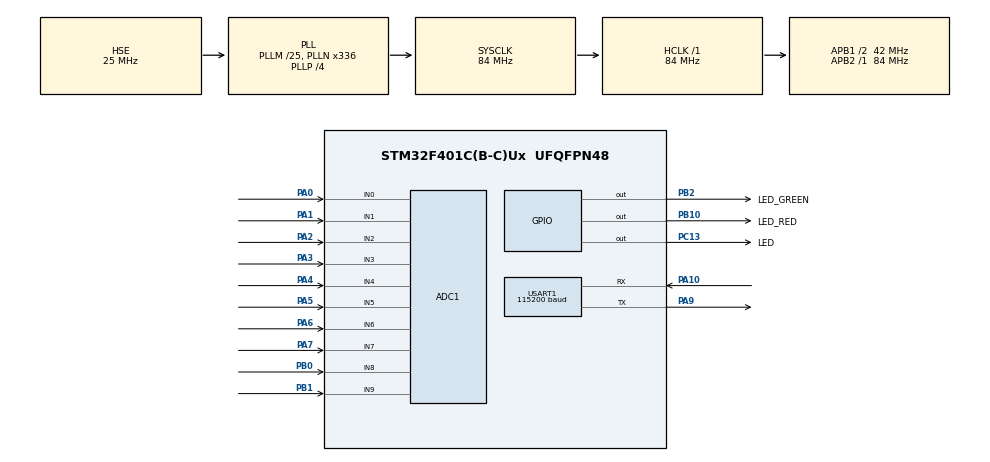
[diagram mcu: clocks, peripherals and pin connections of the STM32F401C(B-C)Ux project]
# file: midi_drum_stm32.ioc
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ADC1.Channel-0\#ChannelRegularConversion=ADC_CHANNEL_0
ADC1.Channel-1\#ChannelRegularConversion=ADC_CHANNEL_1
ADC1.Channel-2\#ChannelRegularConversion=ADC_CHANNEL_2
ADC1.Channel-3\#ChannelRegularConversion=ADC_CHANNEL_3
ADC1.Channel-4\#ChannelRegularConversion=ADC_CHANNEL_4
ADC1.Channel-5\#ChannelRegularConversion=ADC_CHANNEL_5
ADC1.Channel-6\#ChannelRegularConversion=ADC_CHANNEL_6
ADC1.Channel-7\#ChannelRegularConversion=ADC_CHANNEL_7
ADC1.Channel-8\#ChannelRegularConversion=ADC_CHANNEL_8
ADC1.Channel-9\#ChannelRegularConversion=ADC_CHANNEL_9
ADC1.ClockPrescaler=ADC_CLOCK_SYNC_PCLK_DIV4
ADC1.ContinuousConvMode=DISABLE
ADC1.DMAContinuousRequests=ENABLE
ADC1.ExternalTrigConv=ADC_EXTERNALTRIGCONV_T2_TRGO
ADC1.NbrOfConversion=10
ADC1.NbrOfConversionFlag=1
ADC1.Rank-0\#ChannelRegularConversion=1
ADC1.Rank-1\#ChannelRegularConversion=2
ADC1.Rank-2\#ChannelRegularConversion=3
ADC1.Rank-3\#ChannelRegularConversion=4
ADC1.Rank-4\#ChannelRegularConversion=5
ADC1.Rank-5\#ChannelRegularConversion=6
ADC1.Rank-6\#ChannelRegularConversion=7
ADC1.Rank-7\#ChannelRegularConversion=8
ADC1.Rank-8\#ChannelRegularConversion=9
ADC1.Rank-9\#ChannelRegularConversion=10
ADC1.SamplingTime-0\#ChannelRegularConversion=ADC_SAMPLETIME_3CYCLES
ADC1.SamplingTime-1\#ChannelRegularConversion=ADC_SAMPLETIME_3CYCLES
ADC1.SamplingTime-2\#ChannelRegularConversion=ADC_SAMPLETIME_3CYCLES
ADC1.SamplingTime-3\#ChannelRegularConversion=ADC_SAMPLETIME_3CYCLES
ADC1.SamplingTime-4\#ChannelRegularConversion=ADC_SAMPLETIME_3CYCLES
ADC1.SamplingTime-5\#ChannelRegularConversion=ADC_SAMPLETIME_3CYCLES
ADC1.SamplingTime-6\#ChannelRegularConversion=ADC_SAMPLETIME_3CYCLES
ADC1.SamplingTime-7\#ChannelRegularConversion=ADC_SAMPLETIME_3CYCLES
ADC1.SamplingTime-8\#ChannelRegularConversion=ADC_SAMPLETIME_3CYCLES
ADC1.SamplingTime-9\#ChannelRegularConversion=ADC_SAMPLETIME_3CYCLES
ADC1.master=1
Dma.ADC1.0.Direction=DMA_PERIPH_TO_MEMORY
Dma.ADC1.0.FIFOMode=DMA_FIFOMODE_DISABLE
Dma.ADC1.0.Instance=DMA2_Stream0
Dma.ADC1.0.MemDataAlignment=DMA_MDATAALIGN_HALFWORD
Dma.ADC1.0.MemInc=DMA_MINC_ENABLE
Dma.ADC1.0.Mode=DMA_CIRCULAR
Dma.ADC1.0.PeriphDataAlignment=DMA_PDATAALIGN_HALFWORD
Dma.ADC1.0.PeriphInc=DMA_PINC_DISABLE
Dma.ADC1.0.Priority=DMA_PRIORITY_HIGH
Dma.Request0=ADC1
Dma.Request1=USART1_TX
Dma.USART1_TX.1.Direction=DMA_MEMORY_TO_PERIPH
Dma.USART1_TX.1.FIFOMode=DMA_FIFOMODE_DISABLE
Dma.USART1_TX.1.Instance=DMA2_Stream7
Dma.USART1_TX.1.MemDataAlignment=DMA_MDATAALIGN_BYTE
Dma.USART1_TX.1.MemInc=DMA_MINC_ENABLE
Dma.USART1_TX.1.Mode=DMA_NORMAL
Dma.USART1_TX.1.PeriphDataAlignment=DMA_PDATAALIGN_BYTE
Dma.USART1_TX.1.PeriphInc=DMA_PINC_DISABLE
Dma.USART1_TX.1.Priority=DMA_PRIORITY_LOW
Mcu.Family=STM32F4
Mcu.Name=STM32F401C(B-C)Ux
Mcu.Package=UFQFPN48
NVIC.DMA2_Stream0_IRQn=true\:0\:0\:false\:false\:true\:false\:true\:true
NVIC.DMA2_Stream7_IRQn=true\:0\:0\:false\:false\:true\:false\:true\:true
NVIC.PriorityGroup=NVIC_PRIORITYGROUP_4
NVIC.TIM2_IRQn=true\:0\:0\:false\:false\:true\:true\:true\:true
NVIC.USART1_IRQn=true\:0\:0\:false\:false\:true\:true\:true\:true
PA0-WKUP.Signal=ADCx_IN0
PA1.Signal=ADCx_IN1
PA10.Mode=Asynchronous
PA10.Signal=USART1_RX
PA13.Mode=Serial_Wire
PA13.Signal=SYS_JTMS-SWDIO
PA14.Mode=Serial_Wire
PA14.Signal=SYS_JTCK-SWCLK
PA2.Signal=ADCx_IN2
PA3.Signal=ADCx_IN3
PA4.Signal=ADCx_IN4
PA5.Signal=ADCx_IN5
PA6.Signal=ADCx_IN6
PA7.Signal=ADCx_IN7
PA9.Mode=Asynchronous
PA9.Signal=USART1_TX
PB0.Signal=ADCx_IN8
PB1.Signal=ADCx_IN9
PB10.GPIO_Label=LED_RED
PB10.GPIO_Speed=GPIO_SPEED_FREQ_HIGH
PB10.Signal=GPIO_Output
PB2.GPIO_Label=LED_GREEN
PB2.GPIO_Speed=GPIO_SPEED_FREQ_HIGH
PB2.Signal=GPIO_Output
PC13-ANTI_TAMP.GPIO_Label=LED
PC13-ANTI_TAMP.Signal=GPIO_Output
PH0\ -\ OSC_IN.Mode=HSE-External-Oscillator
PH0\ -\ OSC_IN.Signal=RCC_OSC_IN
PH1\ -\ OSC_OUT.Mode=HSE-External-Oscillator
PH1\ -\ OSC_OUT.Signal=RCC_OSC_OUT
ProjectManager.HeapSize=0x200
ProjectManager.StackSize=0x400
ProjectManager.TargetToolchain=STM32CubeIDE
RCC.48MHZClocksFreq_Value=48000000
RCC.AHBFreq_Value=84000000
RCC.APB1CLKDivider=RCC_HCLK_DIV2
RCC.APB1Freq_Value=42000000
RCC.APB1TimFreq_Value=84000000
RCC.APB2Freq_Value=84000000
RCC.APB2TimFreq_Value=84000000
RCC.CortexFreq_Value=84000000
RCC.HCLKFreq_Value=84000000
RCC.HSE_VALUE=25000000
RCC.HSI_VALUE=16000000
RCC.LSE_VALUE=32768
RCC.PLLM=25
RCC.PLLN=336
RCC.PLLP=RCC_PLLP_DIV4
RCC.PLLQ=7
RCC.PLLSourceVirtual=RCC_PLLSOURCE_HSE
RCC.SYSCLKFreq_VALUE=84000000
RCC.SYSCLKSource=RCC_SYSCLKSOURCE_PLLCLK
RCC.VCOOutputFreq_Value=336000000
SH.ADCx_IN0.0=ADC1_IN0,IN0
SH.ADCx_IN1.0=ADC1_IN1,IN1
SH.ADCx_IN2.0=ADC1_IN2,IN2
SH.ADCx_IN3.0=ADC1_IN3,IN3
SH.ADCx_IN4.0=ADC1_IN4,IN4
SH.ADCx_IN5.0=ADC1_IN5,IN5
SH.ADCx_IN6.0=ADC1_IN6,IN6
SH.ADCx_IN7.0=ADC1_IN7,IN7
SH.ADCx_IN8.0=ADC1_IN8,IN8
SH.ADCx_IN9.0=ADC1_IN9,IN9
TIM2.AutoReloadPreload=TIM_AUTORELOAD_PRELOAD_ENABLE
TIM2.Period=99
TIM2.Prescaler=83
TIM2.TIM_MasterOutputTrigger=TIM_TRGO_UPDATE
USART1.BaudRate=115200
USART1.VirtualMode=VM_ASYNC
VP_TIM2_VS_ClockSourceINT.Mode=Internal
board=custom

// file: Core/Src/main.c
/* USER CODE BEGIN Header */
/**
  ******************************************************************************
  * @file           : main.c
  * @brief          : Main program body
  ******************************************************************************
  * @attention
  *
  * Copyright (c) 2026 STMicroelectronics.
  * All rights reserved.
  *
  * This software is licensed under terms that can be found in the LICENSE file
  * in the root directory of this software component.
  * If no LICENSE file comes with this software, it is provided AS-IS.
  *
  ******************************************************************************
  */
/* USER CODE END Header */
#include "main.h"

/* USER CODE BEGIN Includes */
#include <my_main.h>

/* USER CODE END Includes */

ADC_HandleTypeDef hadc1;
DMA_HandleTypeDef hdma_adc1;

TIM_HandleTypeDef htim2;

UART_HandleTypeDef huart1;
DMA_HandleTypeDef hdma_usart1_tx;

void SystemClock_Config(void);
static void MX_GPIO_Init(void);
static void MX_DMA_Init(void);
static void MX_USART1_UART_Init(void);
static void MX_ADC1_Init(void);
static void MX_TIM2_Init(void);
/* USER CODE BEGIN PFP */

static void UART_SendString(uint8_t* buffer, uint16_t buf_lenght);
static void ADC_Start_DMA(uint32_t* buffer, uint16_t buf_lenght);
static void LED_Write(LEDS led, uint8_t state);

/* USER CODE END PFP */

int main(void)
{

  /* USER CODE BEGIN 1 */
		//char tmp_buf[15];
		//uint16_t raw_data;

  /* USER CODE END 1 */

  /* MCU Configuration--------------------------------------------------------*/

  /* Reset of all peripherals, Initializes the Flash interface and the Systick. */
  HAL_Init();

  /* Configure the system clock */
  SystemClock_Config();

  /* Initialize all configured peripherals */
  MX_GPIO_Init();
  MX_DMA_Init();
  MX_USART1_UART_Init();
  MX_ADC1_Init();
  MX_TIM2_Init();
  /* USER CODE BEGIN 2 */

  MainFunctions Main_Functions =
  {
		  .UART_SendString = UART_SendString,
		  .ADC_Start_DMA = ADC_Start_DMA,
		  .LED_Write = LED_Write
  };

  my_main_init(&Main_Functions);

  HAL_TIM_Base_Start(&htim2);
  HAL_GPIO_WritePin(LED_GPIO_Port, LED_Pin, 1);	// off builtin led

  /* USER CODE END 2 */

  /* Infinite loop */
  /* USER CODE BEGIN WHILE */
  while (1)
  {
	  my_main_loop();

    /* USER CODE END WHILE */

  }
}

void SystemClock_Config(void)
{
  RCC_OscInitTypeDef RCC_OscInitStruct = {0};
  RCC_ClkInitTypeDef RCC_ClkInitStruct = {0};

  /** Configure the main internal regulator output voltage
  */
  __HAL_RCC_PWR_CLK_ENABLE();
  __HAL_PWR_VOLTAGESCALING_CONFIG(PWR_REGULATOR_VOLTAGE_SCALE2);

  /** Initializes the RCC Oscillators according to the specified parameters
  * in the RCC_OscInitTypeDef structure.
  */
  RCC_OscInitStruct.OscillatorType = RCC_OSCILLATORTYPE_HSE;
  RCC_OscInitStruct.HSEState = RCC_HSE_ON;
  RCC_OscInitStruct.PLL.PLLState = RCC_PLL_ON;
  RCC_OscInitStruct.PLL.PLLSource = RCC_PLLSOURCE_HSE;
  RCC_OscInitStruct.PLL.PLLM = 25;
  RCC_OscInitStruct.PLL.PLLN = 336;
  RCC_OscInitStruct.PLL.PLLP = RCC_PLLP_DIV4;
  RCC_OscInitStruct.PLL.PLLQ = 7;
  if (HAL_RCC_OscConfig(&RCC_OscInitStruct) != HAL_OK)
  {
    Error_Handler();
  }

  /** Initializes the CPU, AHB and APB buses clocks
  */
  RCC_ClkInitStruct.ClockType = RCC_CLOCKTYPE_HCLK|RCC_CLOCKTYPE_SYSCLK
                              |RCC_CLOCKTYPE_PCLK1|RCC_CLOCKTYPE_PCLK2;
  RCC_ClkInitStruct.SYSCLKSource = RCC_SYSCLKSOURCE_PLLCLK;
  RCC_ClkInitStruct.AHBCLKDivider = RCC_SYSCLK_DIV1;
  RCC_ClkInitStruct.APB1CLKDivider = RCC_HCLK_DIV2;
  RCC_ClkInitStruct.APB2CLKDivider = RCC_HCLK_DIV1;

  if (HAL_RCC_ClockConfig(&RCC_ClkInitStruct, FLASH_LATENCY_2) != HAL_OK)
  {
    Error_Handler();
  }
}

static void MX_ADC1_Init(void)
{

  ADC_ChannelConfTypeDef sConfig = {0};

  /** Configure the global features of the ADC (Clock, Resolution, Data Alignment and number of conversion)
  */
  hadc1.Instance = ADC1;
  hadc1.Init.ClockPrescaler = ADC_CLOCK_SYNC_PCLK_DIV4;
  hadc1.Init.Resolution = ADC_RESOLUTION_12B;
  hadc1.Init.ScanConvMode = ENABLE;
  hadc1.Init.ContinuousConvMode = DISABLE;
  hadc1.Init.DiscontinuousConvMode = DISABLE;
  hadc1.Init.ExternalTrigConvEdge = ADC_EXTERNALTRIGCONVEDGE_RISING;
  hadc1.Init.ExternalTrigConv = ADC_EXTERNALTRIGCONV_T2_TRGO;
  hadc1.Init.DataAlign = ADC_DATAALIGN_RIGHT;
  hadc1.Init.NbrOfConversion = 10;
  hadc1.Init.DMAContinuousRequests = ENABLE;
  hadc1.Init.EOCSelection = ADC_EOC_SINGLE_CONV;
  if (HAL_ADC_Init(&hadc1) != HAL_OK)
  {
    Error_Handler();
  }

  /** Configure for the selected ADC regular channel its corresponding rank in the sequencer and its sample time.
  */
  sConfig.Channel = ADC_CHANNEL_0;
  sConfig.Rank = 1;
  sConfig.SamplingTime = ADC_SAMPLETIME_3CYCLES;
  if (HAL_ADC_ConfigChannel(&hadc1, &sConfig) != HAL_OK)
  {
    Error_Handler();
  }

  /** Configure for the selected ADC regular channel its corresponding rank in the sequencer and its sample time.
  */
  sConfig.Channel = ADC_CHANNEL_1;
  sConfig.Rank = 2;
  if (HAL_ADC_ConfigChannel(&hadc1, &sConfig) != HAL_OK)
  {
    Error_Handler();
  }

  /** Configure for the selected ADC regular channel its corresponding rank in the sequencer and its sample time.
  */
  sConfig.Channel = ADC_CHANNEL_2;
  sConfig.Rank = 3;
  if (HAL_ADC_ConfigChannel(&hadc1, &sConfig) != HAL_OK)
  {
    Error_Handler();
  }

  /** Configure for the selected ADC regular channel its corresponding rank in the sequencer and its sample time.
  */
  sConfig.Channel = ADC_CHANNEL_3;
  sConfig.Rank = 4;
  if (HAL_ADC_ConfigChannel(&hadc1, &sConfig) != HAL_OK)
  {
    Error_Handler();
  }

  /** Configure for the selected ADC regular channel its corresponding rank in the sequencer and its sample time.
  */
  sConfig.Channel = ADC_CHANNEL_4;
  sConfig.Rank = 5;
  if (HAL_ADC_ConfigChannel(&hadc1, &sConfig) != HAL_OK)
  {
    Error_Handler();
  }

  /** Configure for the selected ADC regular channel its corresponding rank in the sequencer and its sample time.
  */
  sConfig.Channel = ADC_CHANNEL_5;
  sConfig.Rank = 6;
  if (HAL_ADC_ConfigChannel(&hadc1, &sConfig) != HAL_OK)
  {
    Error_Handler();
  }

  /** Configure for the selected ADC regular channel its corresponding rank in the sequencer and its sample time.
  */
  sConfig.Channel = ADC_CHANNEL_6;
  sConfig.Rank = 7;
  if (HAL_ADC_ConfigChannel(&hadc1, &sConfig) != HAL_OK)
  {
    Error_Handler();
  }

  /** Configure for the selected ADC regular channel its corresponding rank in the sequencer and its sample time.
  */
  sConfig.Channel = ADC_CHANNEL_7;
  sConfig.Rank = 8;
  if (HAL_ADC_ConfigChannel(&hadc1, &sConfig) != HAL_OK)
  {
    Error_Handler();
  }

  /** Configure for the selected ADC regular channel its corresponding rank in the sequencer and its sample time.
  */
  sConfig.Channel = ADC_CHANNEL_8;
  sConfig.Rank = 9;
  if (HAL_ADC_ConfigChannel(&hadc1, &sConfig) != HAL_OK)
  {
    Error_Handler();
  }

  /** Configure for the selected ADC regular channel its corresponding rank in the sequencer and its sample time.
  */
  sConfig.Channel = ADC_CHANNEL_9;
  sConfig.Rank = 10;
  if (HAL_ADC_ConfigChannel(&hadc1, &sConfig) != HAL_OK)
  {
    Error_Handler();
  }

}

static void MX_TIM2_Init(void)
{

  TIM_ClockConfigTypeDef sClockSourceConfig = {0};
  TIM_MasterConfigTypeDef sMasterConfig = {0};

  htim2.Instance = TIM2;
  htim2.Init.Prescaler = 83;
  htim2.Init.CounterMode = TIM_COUNTERMODE_UP;
  htim2.Init.Period = 99;
  htim2.Init.ClockDivision = TIM_CLOCKDIVISION_DIV1;
  htim2.Init.AutoReloadPreload = TIM_AUTORELOAD_PRELOAD_ENABLE;
  if (HAL_TIM_Base_Init(&htim2) != HAL_OK)
  {
    Error_Handler();
  }
  sClockSourceConfig.ClockSource = TIM_CLOCKSOURCE_INTERNAL;
  if (HAL_TIM_ConfigClockSource(&htim2, &sClockSourceConfig) != HAL_OK)
  {
    Error_Handler();
  }
  sMasterConfig.MasterOutputTrigger = TIM_TRGO_UPDATE;
  sMasterConfig.MasterSlaveMode = TIM_MASTERSLAVEMODE_DISABLE;
  if (HAL_TIMEx_MasterConfigSynchronization(&htim2, &sMasterConfig) != HAL_OK)
  {
    Error_Handler();
  }

}

static void MX_USART1_UART_Init(void)
{

  huart1.Instance = USART1;
  huart1.Init.BaudRate = 115200;
  huart1.Init.WordLength = UART_WORDLENGTH_8B;
  huart1.Init.StopBits = UART_STOPBITS_1;
  huart1.Init.Parity = UART_PARITY_NONE;
  huart1.Init.Mode = UART_MODE_TX_RX;
  huart1.Init.HwFlowCtl = UART_HWCONTROL_NONE;
  huart1.Init.OverSampling = UART_OVERSAMPLING_16;
  if (HAL_UART_Init(&huart1) != HAL_OK)
  {
    Error_Handler();
  }

}

static void MX_DMA_Init(void)
{

  /* DMA controller clock enable */
  __HAL_RCC_DMA2_CLK_ENABLE();

  /* DMA interrupt init */
  /* DMA2_Stream0_IRQn interrupt configuration */
  HAL_NVIC_SetPriority(DMA2_Stream0_IRQn, 0, 0);
  HAL_NVIC_EnableIRQ(DMA2_Stream0_IRQn);
  /* DMA2_Stream7_IRQn interrupt configuration */
  HAL_NVIC_SetPriority(DMA2_Stream7_IRQn, 0, 0);
  HAL_NVIC_EnableIRQ(DMA2_Stream7_IRQn);

}

static void MX_GPIO_Init(void)
{
  GPIO_InitTypeDef GPIO_InitStruct = {0};

  /* GPIO Ports Clock Enable */
  __HAL_RCC_GPIOC_CLK_ENABLE();
  __HAL_RCC_GPIOH_CLK_ENABLE();
  __HAL_RCC_GPIOA_CLK_ENABLE();
  __HAL_RCC_GPIOB_CLK_ENABLE();

  /*Configure GPIO pin Output Level */
  HAL_GPIO_WritePin(LED_GPIO_Port, LED_Pin, GPIO_PIN_RESET);

  /*Configure GPIO pin Output Level */
  HAL_GPIO_WritePin(GPIOB, LED_GREEN_Pin|LED_RED_Pin, GPIO_PIN_RESET);

  /*Configure GPIO pin : LED_Pin */
  GPIO_InitStruct.Pin = LED_Pin;
  GPIO_InitStruct.Mode = GPIO_MODE_OUTPUT_PP;
  GPIO_InitStruct.Pull = GPIO_NOPULL;
  GPIO_InitStruct.Speed = GPIO_SPEED_FREQ_LOW;
  HAL_GPIO_Init(LED_GPIO_Port, &GPIO_InitStruct);

  /*Configure GPIO pins : LED_GREEN_Pin LED_RED_Pin */
  GPIO_InitStruct.Pin = LED_GREEN_Pin|LED_RED_Pin;
  GPIO_InitStruct.Mode = GPIO_MODE_OUTPUT_PP;
  GPIO_InitStruct.Pull = GPIO_NOPULL;
  GPIO_InitStruct.Speed = GPIO_SPEED_FREQ_HIGH;
  HAL_GPIO_Init(GPIOB, &GPIO_InitStruct);

}

/* USER CODE BEGIN 4 */

/*System functions which used by my_main.cpp*/

static void UART_SendString(uint8_t* buffer, uint16_t buf_length)
{
	HAL_UART_Transmit(&huart1, buffer, buf_length, 10);
}

static void ADC_Start_DMA(uint32_t* buffer, uint16_t buf_length)
{
	HAL_ADC_Start_DMA(&hadc1, buffer, buf_length);
}

static void LED_Write(LEDS led, uint8_t state)
{
	switch(led)
	{
	case RED :

		HAL_GPIO_WritePin(LED_RED_GPIO_Port, LED_RED_Pin, state);
		break;
	case GREEN :

		HAL_GPIO_WritePin(LED_GREEN_GPIO_Port, LED_GREEN_Pin, state);
		break;
	case BLUE :
		break;
	default:
		break;
	}
}

/* System IT Callback Functions */

void HAL_ADC_ConvHalfCpltCallback(ADC_HandleTypeDef* hadc1)
{
	my_main_IT(ADC_HALF_COMPLETE);
}

void HAL_ADC_ConvCpltCallback(ADC_HandleTypeDef* hadc1)
{
	my_main_IT(ADC_FULL_COMPLETE);
}

/* USER CODE END 4 */

void Error_Handler(void)
{
  __disable_irq();
  while (1)
  {
  }
}
